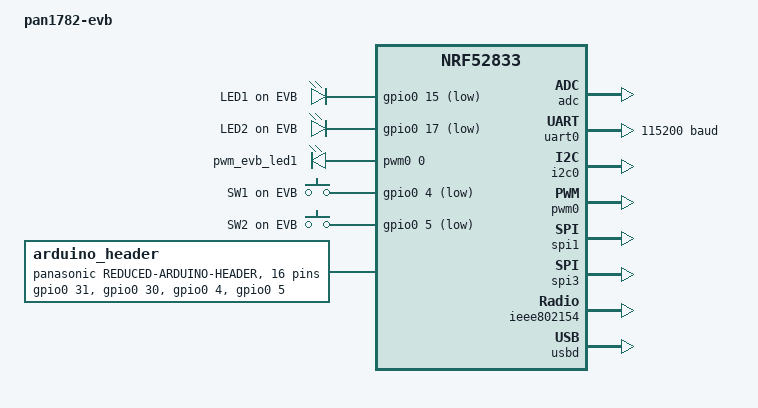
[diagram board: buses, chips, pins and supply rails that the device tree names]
/*
 * PAN1782 EVB configuration
 *
 * Copyright (c) 2022 Panasonic Industrial Devices Europe GmbH
 * SPDX-License-Identifier: Apache-2.0
 */

/dts-v1/;
#include <nordic/nrf52833_qiaa.dtsi>
#include "pan1782_evb-pinctrl.dtsi"
#include <zephyr/dt-bindings/input/input-event-codes.h>

/ {
	model = "pan1782-evb";
	compatible = "panasonic-industrial-devices-europe-gmbh,pan1782-evb";

	chosen {
		zephyr,console = &uart0;
		zephyr,shell-uart = &uart0;
		zephyr,uart-mcumgr = &uart0;
		zephyr,bt-mon-uart = &uart0;
		zephyr,bt-c2h-uart = &uart0;
		zephyr,sram = &sram0;
		zephyr,flash = &flash0;
		zephyr,code-partition = &slot0_partition;
		zephyr,ieee802154 = &ieee802154;
	};

	leds {
		compatible = "gpio-leds";

		evb_led1: evb_led_1 {
			gpios = <&gpio0 15 GPIO_ACTIVE_LOW>;
			label = "LED1 on EVB";
		};

		evb_led2: evb_led_2 {
			gpios = <&gpio0 17 GPIO_ACTIVE_LOW>;
			label = "LED2 on EVB";
		};
	};

	pwmleds {
		compatible = "pwm-leds";

		pwm_evb_led1: pwm_evb_led_1 {
			pwms = <&pwm0 0 PWM_MSEC(20) PWM_POLARITY_INVERTED>;
		};
	};

	buttons {
		compatible = "gpio-keys";

		evb_sw1: evb_sw1 {
			gpios = <&gpio0 4 (GPIO_PULL_UP | GPIO_ACTIVE_LOW)>;
			label = "SW1 on EVB";
			zephyr,code = <INPUT_KEY_0>;
		};

		evb_sw2: evb_sw2 {
			gpios = <&gpio0 5 (GPIO_PULL_UP | GPIO_ACTIVE_LOW)>;
			label = "SW2 on EVB";
			zephyr,code = <INPUT_KEY_1>;
		};
	};

	arduino_header: connector {
		compatible = "panasonic,reduced-arduino-header";
		#gpio-cells = <2>;
		gpio-map-mask = <0xffffffff 0xffffffc0>;
		gpio-map-pass-thru = <0 0x3f>;
		gpio-map = <0 0 &gpio0 31 0>,	/* A0 */
			   <1 0 &gpio0 30 0>,	/* A1 */
			   <2 0 &gpio0 4 0>,	/* A2 */
			   <3 0 &gpio0 5 0>,	/* A3 */
			   <6 0 &gpio1 9 0>,	/* D0 */
			   <7 0 &gpio1 3 0>,	/* D1 */
			   <8 0 &gpio1 15 0>,	/* D2 */
			   <9 0 &gpio1 17 0>,	/* D3 */
			   <10 0 &gpio1 4 0>,	/* D4 */
			   <11 0 &gpio1 5 0>,	/* D5 */
			   <16 0 &gpio0 30 0>,	/* D10 */
			   <17 0 &gpio0 20 0>,	/* D11 */
			   <18 0 &gpio0 2 0>,	/* D12 */
			   <19 0 &gpio0 29 0>,	/* D13 */
			   <20 0 &gpio0 11 0>,	/* D14 */
			   <21 0 &gpio0 28 0>;	/* D15 */
	};

	/* These aliases are provided for compatibility with samples */
	aliases {
		led0 = &evb_led1;
		led1 = &evb_led2;
		pwm-led0 = &pwm_evb_led1;
		sw0 = &evb_sw1;
		sw1 = &evb_sw2;
		mcuboot-led0 = &evb_led1;
		watchdog0 = &wdt0;
	};
};

&reg1 {
	regulator-initial-mode = <NRF5X_REG_MODE_DCDC>;
};

&adc {
	status = "okay";
};

&uicr {
	gpio-as-nreset;
};

&gpiote {
	status = "okay";
};

&gpio0 {
	status = "okay";
};

&gpio1 {
	status = "okay";
};

arduino_serial: &uart0 {
	compatible = "nordic,nrf-uarte";
	status = "okay";
	current-speed = <115200>;
	pinctrl-0 = <&uart0_default>;
	pinctrl-1 = <&uart0_sleep>;
	pinctrl-names = "default", "sleep";
};

arduino_i2c: &i2c0 {
	compatible = "nordic,nrf-twi";
	status = "okay";
	pinctrl-0 = <&i2c0_default>;
	pinctrl-1 = <&i2c0_sleep>;
	pinctrl-names = "default", "sleep";
};

&i2c1 {
	compatible = "nordic,nrf-twi";
	/* Cannot be used together with spi1, so disabled by default. */
	pinctrl-0 = <&i2c1_default>;
	pinctrl-1 = <&i2c1_sleep>;
	pinctrl-names = "default", "sleep";
};

&pwm0 {
	status = "okay";
	pinctrl-0 = <&pwm0_default>;
	pinctrl-1 = <&pwm0_sleep>;
	pinctrl-names = "default", "sleep";
};

&spi0 {
	compatible = "nordic,nrf-spi";
	/* Cannot be used together with i2c0, so disabled by default. */
	pinctrl-0 = <&spi0_default>;
	pinctrl-1 = <&spi0_sleep>;
	pinctrl-names = "default", "sleep";
};

&spi1 {
	compatible = "nordic,nrf-spi";
	status = "okay";
	pinctrl-0 = <&spi1_default>;
	pinctrl-1 = <&spi1_sleep>;
	pinctrl-names = "default", "sleep";
};

arduino_spi: &spi3 {
	status = "okay";
	cs-gpios = <&gpio0 30 GPIO_ACTIVE_LOW>; /* D10 */
	pinctrl-0 = <&spi3_default>;
	pinctrl-1 = <&spi3_sleep>;
	pinctrl-names = "default", "sleep";
};

&ieee802154 {
	status = "okay";
};

&flash0 {
	partitions {
		compatible = "fixed-partitions";
		#address-cells = <1>;
		#size-cells = <1>;

		boot_partition: partition@0 {
			label = "mcuboot";
			reg = <0x000000000 0xC000>;
		};

		slot0_partition: partition@c000 {
			label = "image-0";
			reg = <0x0000C000 0x32000>;
		};

		slot1_partition: partition@3e000 {
			label = "image-1";
			reg = <0x0003E000 0x32000>;
		};

		scratch_partition: partition@70000 {
			label = "image-scratch";
			reg = <0x00070000 0xA000>;
		};

		storage_partition: partition@7a000 {
			label = "storage";
			reg = <0x0007A000 0x00006000>;
		};
	};
};

zephyr_udc0: &usbd {
	compatible = "nordic,nrf-usbd";
	status = "okay";
};
